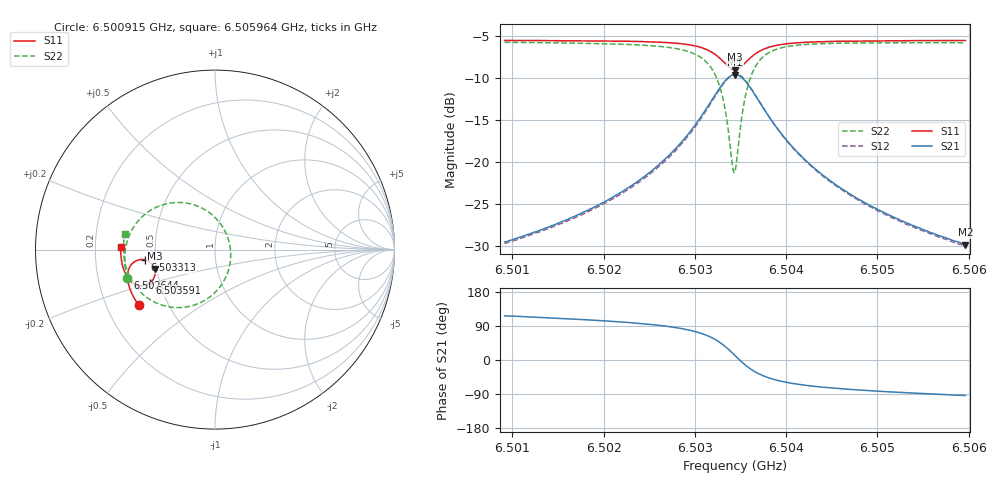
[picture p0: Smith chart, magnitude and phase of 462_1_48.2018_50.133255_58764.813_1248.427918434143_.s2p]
#  HZ  S  RI  R  50.00
! Rohde & Schwarz Vector Network Analyzer
! Rohde-Schwarz,ZNB20-2Port,1311601062101988,3.16
! Created: UTC 3/20/2024, 11:56:47 AM
! freq[Hz]  re:S11  im:S11  re:S21  im:S21  re:S12  im:S12  re:S22  im:S22
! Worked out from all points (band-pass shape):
!   401 points, 6.500915 GHz to 6.505964 GHz, reference 50 ohm
!   highest |S21| = -9.63 dB at 6.503439 GHz (marker M1); lowest = -29.9 dB at 6.505964 GHz (marker M2)
!   |S21| within 3 dB of the highest: 6.503187 GHz to 6.503692 GHz (505.1 kHz wide, 0.00777 % of centre)
!   lowest |S11| = -9.0 dB at 6.503439 GHz (marker M3), VSWR 2.09, Z = 24.3 - j5.89 ohm
!   |S11| at or under -10 dB: nowhere
!   |S22| runs from -21.3 to -5.8 dB; largest |S21 - S12| = 0.012
!   S11 on the Smith chart (normalised r, x): 6.500915 GHz: 0.34, -0.29; 6.502644 GHz: 0.33, -0.14; 6.503313 GHz: 0.44, -0.06; 6.503591 GHz: 0.44, -0.20; 6.505964 GHz: 0.31, +0.01
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6.5009149e9  -0.4252 -0.3105  -0.0149 0.0298  -0.0132 0.03  -0.4883 -0.1583
6.5017606e9  -0.4617 -0.2483  -0.0144 0.0476  -0.0119 0.0471  -0.5021 -0.0691
6.502215e9  -0.4777 -0.2081  -0.0116 0.0662  -0.00843 0.0652  -0.4999 -0.00528
6.5026063e9  -0.4871 -0.1652  -0.00261 0.0961  0.00129 0.0938  -0.4804 0.072
6.5026441e9  -0.4876 -0.1603  -0.000843 0.1003  0.00304 0.0979  -0.4765 0.0813
6.5029218e9  -0.4837 -0.1174  0.0257 0.1427  0.0298 0.1384  -0.4215 0.1671
6.5031112e9  -0.4624 -0.0792  0.0797 0.1849  0.0824 0.1786  -0.3185 0.2399
6.5032248e9  -0.4299 -0.0586  0.1486 0.2026  0.1498 0.1962  -0.1945 0.2626
6.5033131e9  -0.3894 -0.0569  0.2283 0.1868  0.2289 0.1814  -0.0571 0.2227
6.503351e9  -0.37 -0.0644  0.2645 0.1638  0.2657 0.1589  0.0031 0.176
6.5034141e9  -0.3432 -0.0912  0.3127 0.0999  0.3155 0.0945  0.0758 0.0529
6.5034394e9  -0.3369 -0.1059  0.323 0.0674  0.3265 0.0614  0.087 -0.00736
6.5034646e9  -0.3338 -0.1217  0.3268 0.0336  0.3303 0.0263  0.0852 -0.0689
6.5035277e9  -0.3409 -0.1591  0.3087 -0.0446  0.3108 -0.055  0.0299 -0.2049
6.5035908e9  -0.3622 -0.1852  0.2656 -0.099  0.2646 -0.1108  -0.0671 -0.2884
6.5036918e9  -0.402 -0.2007  0.1906 -0.1355  0.1852 -0.1452  -0.218 -0.3229
6.5038559e9  -0.4483 -0.1909  0.1087 -0.1322  0.1015 -0.1375  -0.3655 -0.2763
6.5040326e9  -0.4757 -0.1696  0.0641 -0.112  0.0576 -0.1145  -0.4379 -0.2112
6.504285e9  -0.4963 -0.1395  0.034 -0.0879  0.0291 -0.0882  -0.4813 -0.139
6.5047142e9  -0.5133 -0.0951  0.0134 -0.0622  0.0101 -0.0619  -0.5051 -0.056
6.5051307e9  -0.5212 -0.0569  0.00509 -0.048  0.00268 -0.0473  -0.51 0.00156
6.5059638e9  -0.526 0.0135  -0.00211 -0.0321  -0.0034 -0.0314  -0.5023 0.0894
